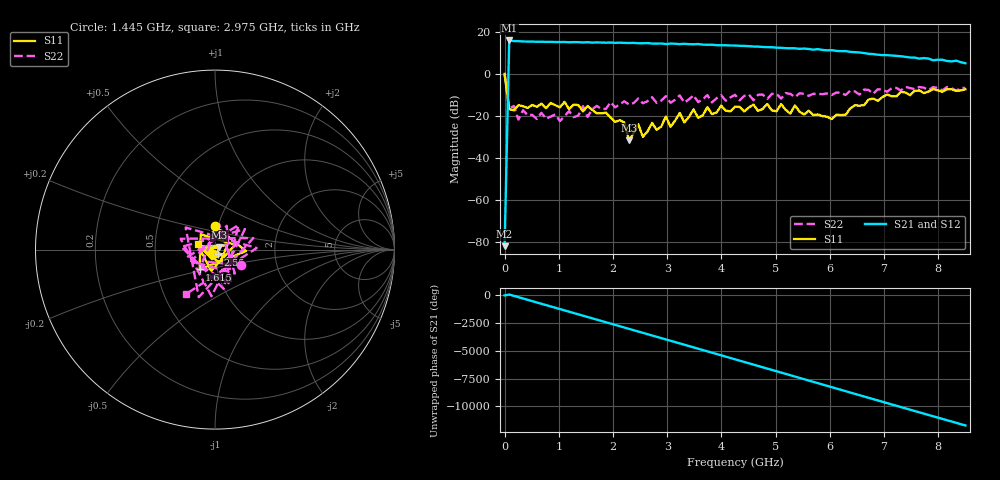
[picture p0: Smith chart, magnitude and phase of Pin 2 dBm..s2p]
! RsaToolbox (C) 2013 Rohde & Schwarz America
! Number of points: 101
! Number of ports: 2
! Balanced ports?: 0
# Hz S RI R 50
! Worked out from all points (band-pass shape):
!   101 points, 9 kHz to 8.5 GHz, reference 50 ohm
!   highest |S21| = 15.86 dB at 85.01 MHz (marker M1); lowest = -81.8 dB at 9 kHz (marker M2)
!   |S21| within 3 dB of the highest: 82.4 MHz to 4.72 GHz (4.638 GHz wide, 193 % of centre)
!   lowest |S11| = -31.6 dB at 2.295 GHz (marker M3), VSWR 1.05, Z = 52.3 + j1.33 ohm
!   |S11| at or under -10 dB: 50.69 MHz to 7.041 GHz (6.99 GHz wide, 197 % of centre); 7.077 GHz to 7.253 GHz (175.6 MHz wide, 2.45 % of centre); 7.47169 GHz to 7.484976 GHz (13.29 MHz wide, 0.178 % of centre)
!   |S22| runs from -22.4 to 0.1 dB; largest |S21 - S12| = 0
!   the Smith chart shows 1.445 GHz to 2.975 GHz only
!   S11 on the Smith chart (normalised r, x): 1.445 GHz: 0.97, +0.26; 1.615 GHz: 0.82, -0.19; 2.55 GHz: 1.03, -0.06; 2.975 GHz: 0.83, +0.05
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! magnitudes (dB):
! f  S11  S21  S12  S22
! 9 kHz  0.0  -81.8  -81.8  0.1
! 85.01 MHz  -16.8  15.9  15.9  -16.6
! 1.02 GHz  -15.9  15.1  15.1  -22.4
! 1.445 GHz  -17.8  14.9  14.9  -15.3
! 1.53 GHz  -15.2  15.0  15.0  -20.4
! 1.615 GHz  -17.1  14.8  14.8  -16.8
! 2.21 GHz  -23.1  14.7  14.7  -13.0
! 2.295 GHz  -31.6  14.7  14.7  -14.6
! 2.465 GHz  -23.8  14.5  14.5  -11.7
! 2.55 GHz  -29.9  14.5  14.5  -13.9
! 2.72 GHz  -23.3  14.4  14.4  -11.0
! 2.89 GHz  -25.0  14.4  14.4  -12.7
! 2.975 GHz  -20.2  14.1  14.1  -10.6
! 3.06 GHz  -25.2  14.4  14.4  -13.7
! 3.23 GHz  -18.5  14.1  14.1  -10.2
! 3.315 GHz  -23.0  14.3  14.3  -13.6
! 3.485 GHz  -16.9  14.1  14.1  -10.2
! 3.57 GHz  -20.8  14.2  14.2  -13.4
! 4.25 GHz  -15.5  13.4  13.4  -9.9
! 5.695 GHz  -19.5  11.5  11.5  -9.5
! 7.14 GHz  -10.6  8.7  8.7  -6.8
! 8.5 GHz  -7.3  5.0  5.0  -6.7
